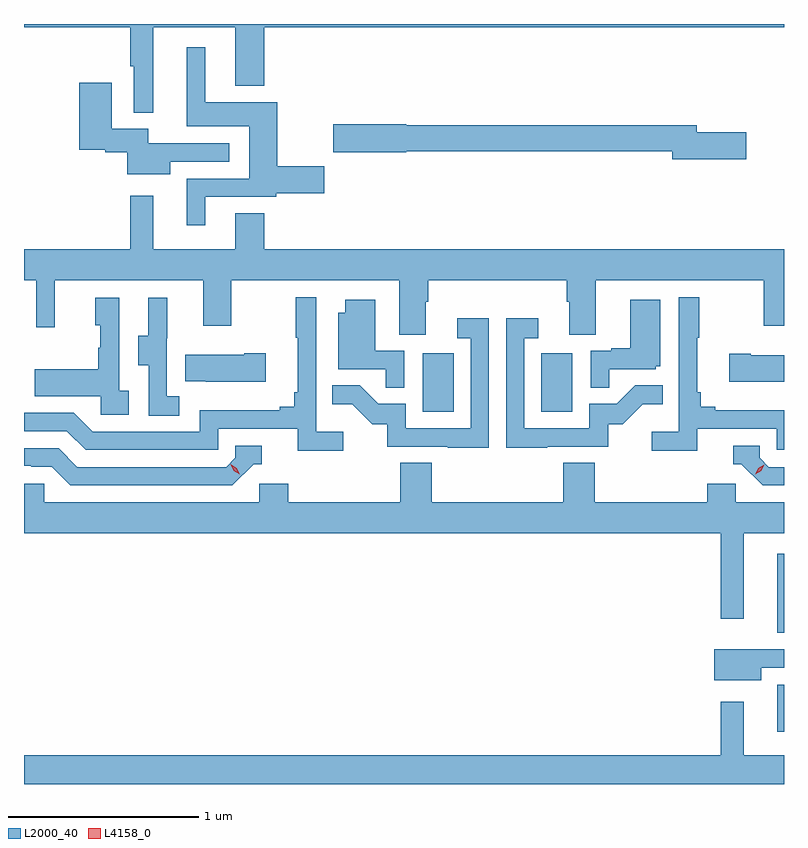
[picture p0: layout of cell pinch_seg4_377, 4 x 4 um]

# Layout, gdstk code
import gdstk
lib = gdstk.Library(unit=1e-6, precision=1e-09)
def R(c, l, rs):  # rectangles x0, y0, x1, y1
    for r in rs: c.add(gdstk.rectangle(r[:2], r[2:], *l))
def P(c, l, *ps):  # polygons
    for p in ps: c.add(gdstk.Polygon(p, *l))
L2000_40 = (2000, 40)
L4158_0 = (4158, 0)

pinch_seg4_377 = lib.new_cell('pinch_seg4_377')
R(pinch_seg4_377, L2000_40, [(989.516,782.457,989.552,782.703), (989.516,782.978,989.552,783.394), (987.65,784.14,987.814,784.447), (988.274,784.14,988.438,784.447)])
P(pinch_seg4_377, L2000_40, [(986.233,786.164),(986.663,786.164),(986.663,785.855),(986.816,785.855),(986.816,786.164),(989.552,786.164),(989.552,786.181),(985.552,786.181),(985.552,786.164),(986.112,786.164),(986.112,785.959),(986.129,785.959),(986.129,785.715),(986.233,785.715)],
  [(986.506,785.271),(986.88,785.271),(986.88,785.29),(987.133,785.29),(987.133,785.432),(986.884,785.432),(986.884,785.77),(986.506,785.77),(986.506,786.058),(986.408,786.058),(986.408,785.642),(986.738,785.642),(986.738,785.367),(986.408,785.367),(986.408,785.121),(986.506,785.121)],
  [(986.323,785.457),(986.632,785.457),(986.632,785.553),(986.206,785.553),(986.206,785.629),(986.014,785.629),(986.014,785.872),(985.844,785.872),(985.844,785.519),(985.98,785.519),(985.98,785.507),(986.096,785.507),(986.096,785.39),(986.323,785.39)],
  [(989.353,785.612),(989.092,785.612),(989.092,785.648),(987.564,785.648),(987.564,785.654),(987.18,785.654),(987.18,785.507),(987.564,785.507),(987.564,785.512),(988.964,785.512),(988.964,785.47),(989.353,785.47)],
  [(987.667,784.72),(987.68,784.72),(987.68,784.832),(988.409,784.832),(988.409,784.72),(988.421,784.72),(988.421,784.546),(988.561,784.546),(988.561,784.832),(989.446,784.832),(989.446,784.593),(989.552,784.593),(989.552,784.996),(986.816,784.996),(986.816,785.186),(986.663,785.186),(986.663,784.996),(986.233,784.996),(986.233,785.278),(986.112,785.278),(986.112,784.996),(985.552,784.996),(985.552,784.832),(985.617,784.832),(985.617,784.584),(985.715,784.584),(985.715,784.832),(986.495,784.832),(986.495,784.593),(986.643,784.593),(986.643,784.832),(987.527,784.832),(987.527,784.546),(987.667,784.546)],
  [(987.232,784.036),(987.09,784.036),(987.09,784.744),(986.982,784.744),(986.982,784.531),(986.993,784.531),(986.993,784.243),(986.974,784.243),(986.974,784.166),(986.897,784.166),(986.897,784.147),(986.478,784.147),(986.478,784.035),(985.914,784.035),(985.815,784.134),(985.552,784.134),(985.552,784.038),(985.778,784.038),(985.877,783.939),(986.574,783.939),(986.574,784.05),(986.993,784.05),(986.993,783.934),(987.232,783.934)],
  [(989.096,784.05),(989.514,784.05),(989.514,783.939),(989.552,783.939),(989.552,784.147),(989.191,784.147),(989.191,784.166),(989.114,784.166),(989.114,784.243),(989.095,784.243),(989.095,784.531),(989.107,784.531),(989.107,784.744),(988.998,784.744),(988.998,784.036),(988.857,784.036),(988.857,783.934),(989.096,783.934)],
  [(986.368,784.223),(986.304,784.223),(986.304,784.527),(986.306,784.527),(986.306,784.741),(986.207,784.741),(986.207,784.539),(986.153,784.539),(986.153,784.384),(986.208,784.384),(986.208,784.12),(986.368,784.12)],
  [(986.104,784.25),(986.052,784.25),(986.052,784.741),(985.928,784.741),(985.928,784.596),(985.954,784.596),(985.954,784.478),(985.944,784.478),(985.944,784.363),(985.609,784.363),(985.609,784.223),(985.956,784.223),(985.956,784.125),(986.104,784.125)],
  [(987.552,784.461),(987.4,784.461),(987.4,784.729),(987.242,784.729),(987.242,784.66),(987.206,784.66),(987.206,784.365),(987.457,784.365),(987.457,784.267),(987.552,784.267)],
  [(988.631,784.365),(988.878,784.365),(988.878,784.38),(988.9,784.38),(988.9,784.729),(988.742,784.729),(988.742,784.474),(988.643,784.474),(988.643,784.461),(988.536,784.461),(988.536,784.267),(988.631,784.267)],
  [(987.999,784.633),(987.831,784.633),(987.831,784.527),(987.903,784.527),(987.903,784.053),(987.561,784.053),(987.561,784.182),(987.416,784.182),(987.319,784.279),(987.175,784.279),(987.175,784.181),(987.279,784.181),(987.386,784.074),(987.463,784.074),(987.463,783.957),(987.781,783.957),(987.781,783.952),(987.999,783.952)],
  [(988.307,783.957),(988.626,783.957),(988.626,784.074),(988.702,784.074),(988.809,784.181),(988.913,784.181),(988.913,784.28),(988.769,784.28),(988.671,784.182),(988.527,784.182),(988.527,784.053),(988.185,784.053),(988.185,784.527),(988.258,784.527),(988.258,784.633),(988.089,784.633),(988.089,783.952),(988.307,783.952)],
  [(986.824,784.449),(986.711,784.449),(986.711,784.441),(986.401,784.441),(986.401,784.301),(986.509,784.301),(986.509,784.298),(986.824,784.298)],
  [(989.552,784.438),(989.377,784.438),(989.377,784.446),(989.265,784.446),(989.265,784.298),(989.552,784.298)],
  [(989.552,783.849),(989.472,783.849),(989.424,783.897),(989.424,783.96),(989.285,783.96),(989.285,783.864),(989.328,783.864),(989.439,783.753),(989.552,783.753)],
  [(986.76,783.864),(986.803,783.864),(986.803,783.96),(986.664,783.96),(986.664,783.897),(986.616,783.849),(985.833,783.849),(985.734,783.948),(985.552,783.948),(985.552,783.855),(985.59,783.855),(985.59,783.852),(985.697,783.852),(985.796,783.753),(986.649,783.753)],
  [(989.341,783.5),(989.552,783.5),(989.552,783.664),(989.298,783.664),(989.298,783.762),(989.147,783.762),(989.147,783.664),(988.556,783.664),(988.556,783.872),(988.391,783.872),(988.391,783.664),(987.698,783.664),(987.698,783.872),(987.533,783.872),(987.533,783.664),(986.942,783.664),(986.942,783.762),(986.79,783.762),(986.79,783.664),(985.659,783.664),(985.659,783.762),(985.552,783.762),(985.552,783.5),(989.22,783.5),(989.22,783.051),(989.341,783.051)],
  [(989.431,782.793),(989.552,782.793),(989.552,782.889),(989.427,782.889),(989.427,782.89),(989.186,782.89),(989.186,782.726),(989.431,782.726)],
  [(989.552,782.332),(989.341,782.332),(989.341,782.614),(989.22,782.614),(989.22,782.332),(985.552,782.332),(985.552,782.181),(989.552,782.181)])
P(pinch_seg4_377, L4158_0, [(986.687,783.811),(986.657,783.83),(986.64,783.863),(986.64,783.863),(986.64,783.863),(986.671,783.844),(986.688,783.812),(986.688,783.811)],
  [(989.4,783.811),(989.4,783.812),(989.417,783.844),(989.448,783.862),(989.449,783.862),(989.449,783.862),(989.432,783.83),(989.4,783.811)])

lib.write_gds('pinch_seg4_377.gds')
